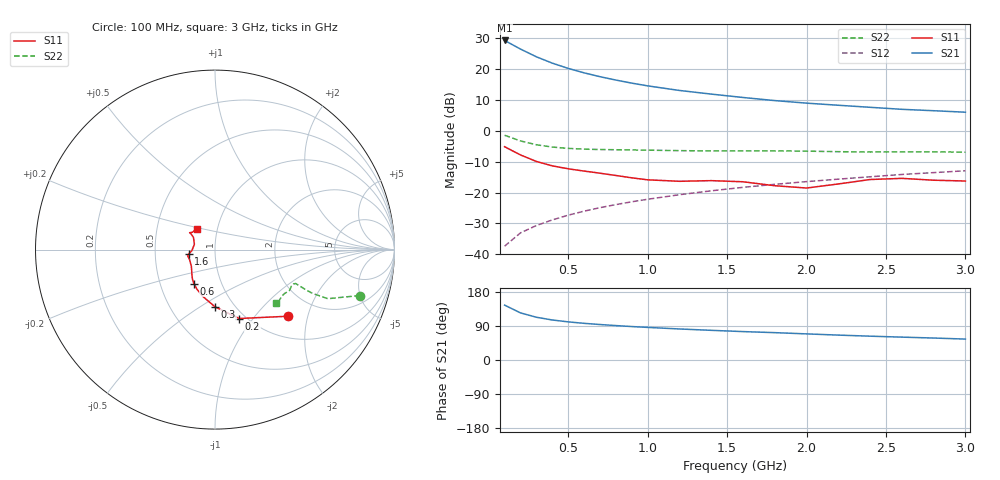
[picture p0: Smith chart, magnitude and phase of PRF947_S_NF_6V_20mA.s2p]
! Filename:  PRF947p.S2P  Version:  3.0
! Philips part #:  PRF947  Date:  Dec 1998
! Bias condition:  Vce=6V, Ic=20mA
#  MHz  S  MA  R 50
! Freq  S11  S21  S12  S22  :
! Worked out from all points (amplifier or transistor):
!   20 points, 100 MHz to 3 GHz, reference 50 ohm
!   highest |S21| = 29.3 dB at 100 MHz (marker M1)
!   |S21| within 3 dB of that: start of sweep to 208.3 MHz
!   unconditionally stable (mu >= 1): 808.2 MHz to end of sweep
!   at 400 MHz: K = 0.86, MSG = 25.4 dB, |S12| = -28.9 dB
!   at 1.2 GHz: K = 1.05, MAG = 15.6 dB, |S12| = -20.7 dB
!   at 3 GHz: K = 1.03, MAG = 8.3 dB, |S12| = -12.9 dB
!   lowest NFmin = 1.98 dB at 500 MHz
!   S11 on the Smith chart (normalised r, x): 100 MHz: 1.43, -1.52; 200 MHz: 0.93, -0.86; 300 MHz: 0.82, -0.58; 600 MHz: 0.74, -0.29; 1.6 GHz: 0.74, -0.04; 3 GHz: 0.80, +0.19
100  0.5524 -42.2  29.02 144.8  0.01356 73.4  0.8467 -17.6
200  0.4069 -70.6  21.04 124.3  0.02227 68.9  0.6856 -23.5
300  0.3189 -90.0  15.79 112.8  0.02928 69.3  0.5946 -24.2
400  0.2707 -104.1  12.46 105.6  0.03609 71.0  0.5457 -23.8
500  0.2427 -114.5  10.24 100.6  0.04303 72.6  0.5192 -23.4
600  0.2231 -121.9  8.683 96.8  0.05001 74.1  0.5049 -23.1
700  0.206 -127.7  7.521 93.6  0.05694 75.1  0.4977 -23.0
800  0.189 -132.9  6.634 90.8  0.06389 75.9  0.4935 -22.9
900  0.1733 -138.6  5.915 88.3  0.07088 76.5  0.4899 -22.8
1000  0.1609 -145.1  5.341 86.0  0.07793 77.0  0.4863 -22.9
1200  0.1523 -158.6  4.501 81.9  0.09232 77.4  0.4775 -23.6
1400  0.1561 -166.8  3.93 78.3  0.1068 77.6  0.4721 -25.5
1600  0.1497 -170.2  3.465 75.0  0.1215 77.7  0.4728 -27.5
1800  0.1291 -177.3  3.085 72.2  0.136 77.5  0.4734 -28.8
2000  0.1185 165.7  2.805 68.9  0.1504 77.3  0.4687 -30.0
2200  0.1378 150.4  2.592 65.7  0.165 77.0  0.4592 -32.0
2400  0.1627 146.4  2.402 62.9  0.1802 76.5  0.4538 -34.8
2600  0.1699 146.3  2.228 60.4  0.1964 76.0  0.4558 -37.5
2800  0.1585 142.4  2.114 58.0  0.2104 75.8  0.457 -39.3
3000  0.1539 130.3  2.001 55.2  0.2255 75.5  0.4513 -40.9
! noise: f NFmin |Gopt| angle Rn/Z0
500  1.98  0.19  15  0.43
800  2.29  0.2  24  0.36
900  2.36  0.16  16  0.31
1000  2.47  0.2  33  0.32
1500  2.52  0.18  89  0.18
2000  2.88  0.09  165  0.33
